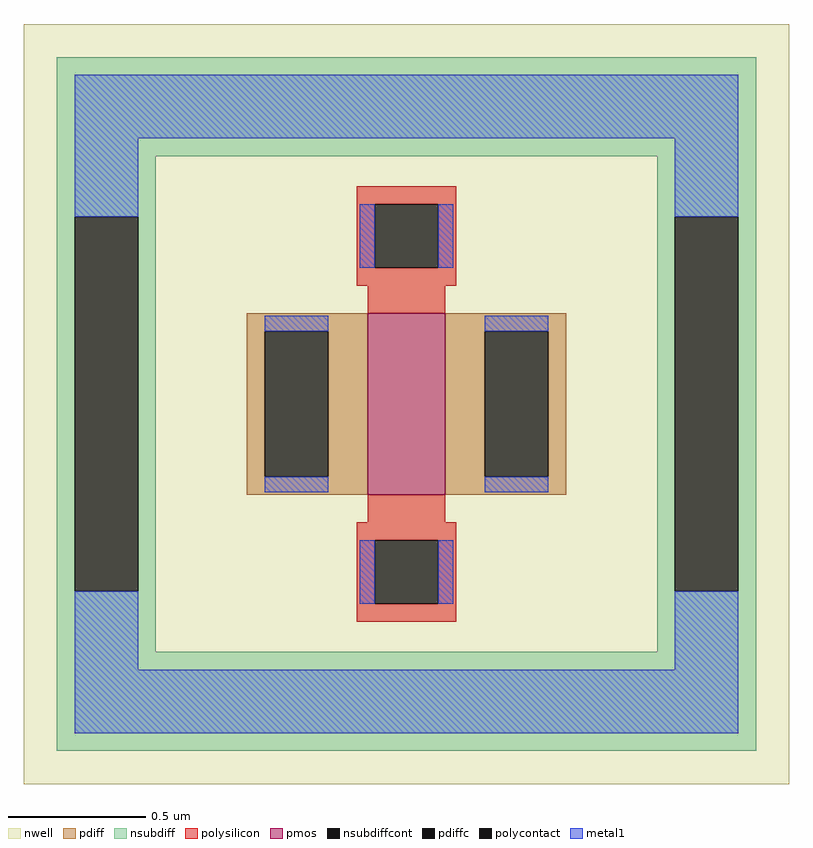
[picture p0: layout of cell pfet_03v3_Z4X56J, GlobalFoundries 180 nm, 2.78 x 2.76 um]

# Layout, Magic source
magic
tech gf180mcuD
magscale 1 10
<< nwell >>
rect -278 -276 278 276
<< pmos >>
rect -28 -66 28 66
<< pdiff >>
rect -116 53 -28 66
rect -116 -53 -103 53
rect -57 -53 -28 53
rect -116 -66 -28 -53
rect 28 53 116 66
rect 28 -53 57 53
rect 103 -53 116 53
rect 28 -66 116 -53
<< pdiffc >>
rect -103 -53 -57 53
rect 57 -53 103 53
<< nsubdiff >>
rect -254 180 254 252
rect -254 136 -182 180
rect -254 -136 -241 136
rect -195 -136 -182 136
rect 182 136 254 180
rect -254 -180 -182 -136
rect 182 -136 195 136
rect 241 -136 254 136
rect 182 -180 254 -136
rect -254 -252 254 -180
<< nsubdiffcont >>
rect -241 -136 -195 136
rect 195 -136 241 136
<< polysilicon >>
rect -36 145 36 158
rect -36 99 -23 145
rect 23 99 36 145
rect -36 86 36 99
rect -28 66 28 86
rect -28 -86 28 -66
rect -36 -99 36 -86
rect -36 -145 -23 -99
rect 23 -145 36 -99
rect -36 -158 36 -145
<< polycontact >>
rect -23 99 23 145
rect -23 -145 23 -99
<< metal1 >>
rect -241 193 241 239
rect -241 136 -195 193
rect -34 99 -23 145
rect 23 99 34 145
rect 195 136 241 193
rect -103 53 -57 64
rect -103 -64 -57 -53
rect 57 53 103 64
rect 57 -64 103 -53
rect -241 -193 -195 -136
rect -34 -145 -23 -99
rect 23 -145 34 -99
rect 195 -193 241 -136
rect -241 -239 241 -193
<< properties >>
string FIXED_BBOX -218 -216 218 216
string gencell pfet_03v3
string library gf180mcu
string parameters w 0.66 l 0.28 m 1 nf 1 diffcov 100 polycov 100 guard 1 glc 1 grc 1 gtc 0 gbc 0 tbcov 100 rlcov 100 topc 1 botc 1 poverlap 0 doverlap 1 lmin 0.28 wmin 0.22 class mosfet full_metal 1 compatible {pfet_03v3 pfet_06v0} ad {int((nf+1)/2) * W/nf * 0.18u} as {int((nf+2)/2) * W/nf * 0.18u} pd {2*int((nf+1)/2) * (W/nf + 0.18u)} ps {2*int((nf+2)/2) * (W/nf + 0.18u)} nrd {0.18u / W} nrs {0.18u / W} sa 0 sb 0 sd 0
<< end >>
